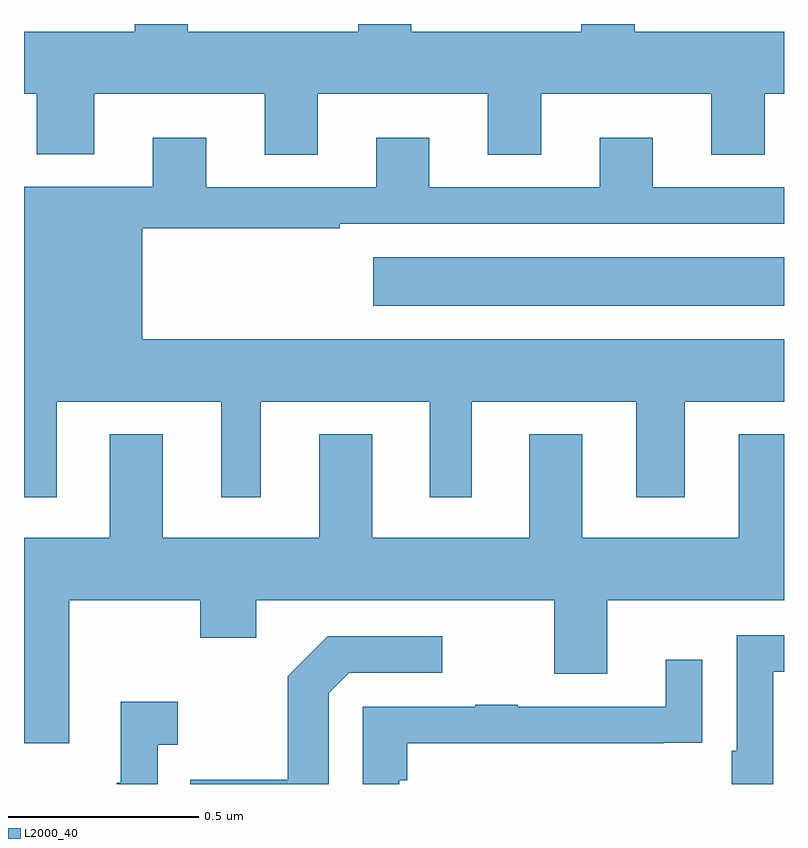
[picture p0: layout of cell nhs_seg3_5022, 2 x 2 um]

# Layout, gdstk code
import gdstk
lib = gdstk.Library(unit=1e-6, precision=1e-09)
def R(c, l, rs):  # rectangles x0, y0, x1, y1
    for r in rs: c.add(gdstk.rectangle(r[:2], r[2:], *l))
def P(c, l, *ps):  # polygons
    for p in ps: c.add(gdstk.Polygon(p, *l))
L2000_40 = (2000, 40)

nhs_seg3_5022 = lib.new_cell('nhs_seg3_5022')
R(nhs_seg3_5022, L2000_40, [(173.919,733.658,175,733.786)])
P(nhs_seg3_5022, L2000_40, [(173.773,734.216),(174.221,734.216),(174.221,734.056),(174.361,734.056),(174.361,734.216),(174.809,734.216),(174.809,734.056),(174.949,734.056),(174.949,734.216),(175,734.216),(175,734.38),(174.607,734.38),(174.607,734.4),(174.467,734.4),(174.467,734.38),(174.019,734.38),(174.019,734.4),(173.879,734.4),(173.879,734.38),(173.431,734.38),(173.431,734.4),(173.291,734.4),(173.291,734.38),(173,734.38),(173,734.216),(173.033,734.216),(173.033,734.057),(173.185,734.057),(173.185,734.216),(173.633,734.216),(173.633,734.056),(173.773,734.056)],
  [(173.086,733.406),(173.519,733.406),(173.519,733.155),(173.623,733.155),(173.623,733.406),(174.068,733.406),(174.068,733.155),(174.178,733.155),(174.178,733.406),(174.611,733.406),(174.611,733.155),(174.739,733.155),(174.739,733.406),(175,733.406),(175,733.57),(173.311,733.57),(173.311,733.863),(173.831,733.863),(173.831,733.875),(175,733.875),(175,733.971),(174.655,733.971),(174.655,734.101),(174.515,734.101),(174.515,733.971),(174.067,733.971),(174.067,734.101),(173.927,734.101),(173.927,733.971),(173.479,733.971),(173.479,734.101),(173.339,734.101),(173.339,733.972),(173,733.972),(173,733.155),(173.086,733.155)],
  [(173.119,732.884),(173.464,732.884),(173.464,732.785),(173.611,732.785),(173.611,732.884),(174.395,732.884),(174.395,732.69),(174.535,732.69),(174.535,732.884),(175,732.884),(175,733.321),(174.881,733.321),(174.881,733.048),(174.469,733.048),(174.469,733.321),(174.329,733.321),(174.329,733.048),(173.917,733.048),(173.917,733.321),(173.777,733.321),(173.777,733.048),(173.365,733.048),(173.365,733.321),(173.225,733.321),(173.225,733.048),(173,733.048),(173,732.507),(173.119,732.507)],
  [(174.972,732.696),(175,732.696),(175,732.792),(174.876,732.792),(174.876,732.487),(174.863,732.487),(174.863,732.4),(174.972,732.4)],
  [(173.802,732.639),(173.856,732.693),(174.1,732.693),(174.1,732.789),(173.799,732.789),(173.694,732.683),(173.694,732.411),(173.437,732.411),(173.437,732.4),(173.802,732.4)],
  [(173.988,732.41),(174.008,732.41),(174.008,732.507),(174.683,732.507),(174.683,732.508),(174.785,732.508),(174.785,732.727),(174.689,732.727),(174.689,732.603),(174.299,732.603),(174.299,732.608),(174.187,732.608),(174.187,732.603),(173.892,732.603),(173.892,732.4),(173.988,732.4)],
  [(173.352,732.503),(173.404,732.503),(173.404,732.616),(173.255,732.616),(173.255,732.403),(173.244,732.403),(173.244,732.4),(173.352,732.4)])

lib.write_gds('nhs_seg3_5022.gds')
